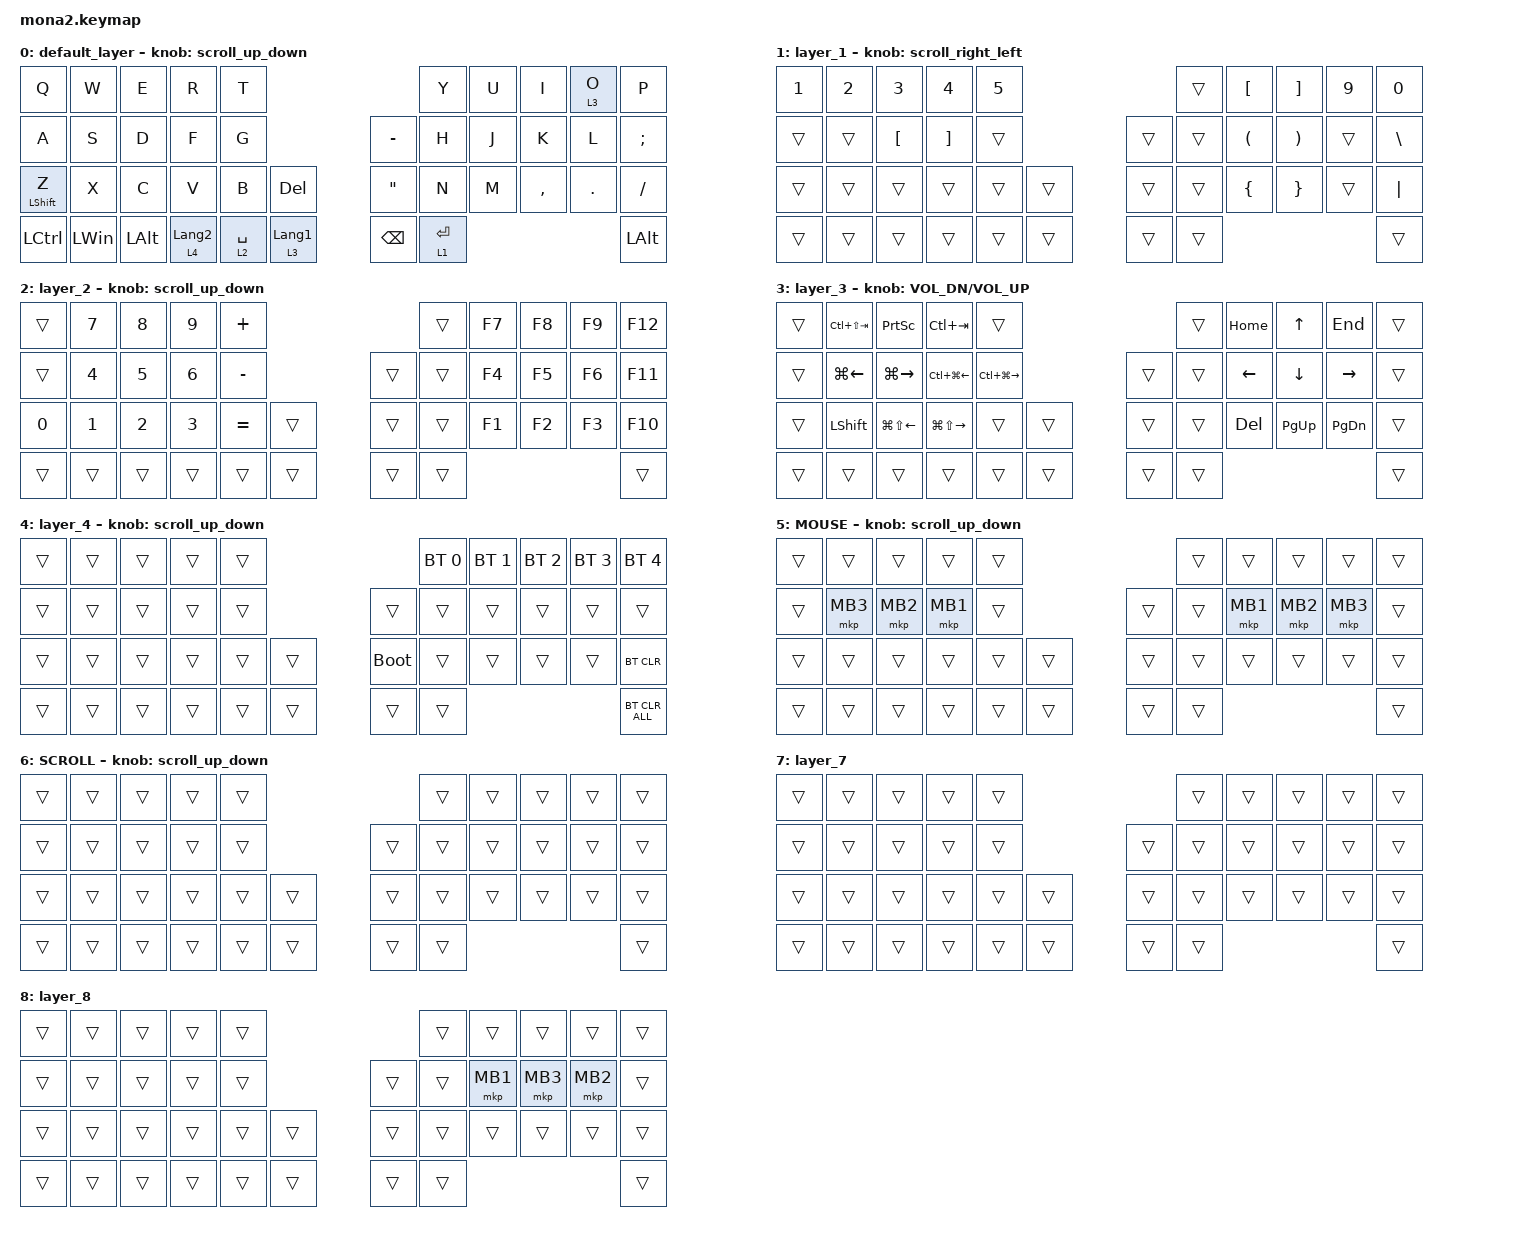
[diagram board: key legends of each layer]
#include <input/processors.dtsi>
#include <dt-bindings/zmk/input_transform.h>
#include <zephyr/dt-bindings/input/input-event-codes.h>
#include <behaviors.dtsi>
#include <dt-bindings/zmk/bt.h>
#include <dt-bindings/zmk/keys.h>
#include <dt-bindings/zmk/pointing.h>

#define ZMK_POINTING_DEFAULT_SCRL_VAL 100
#define MOUSE 5
#define SCROLL 6

&mt {
    flavor = "balanced";
    quick-tap-ms = <0>;
};

&lt {
    quick-tap-ms = <300>;
    flavor = "balanced";
};

/ {
    combos {
        compatible = "zmk,combos";

        layer4_ESC {
            bindings = <&lt 4 ESC>;
            key-positions = <39 38>;
        };

        tab {
            bindings = <&kp TAB>;
            key-positions = <11 12>;
        };

        esc {
            bindings = <&kp ESC>;
            key-positions = <0 1>;
        };

        a {
            bindings = <&kp A>;
            key-positions = <17 18 19>;
        };
    };

    macros {
        to_layer_0: to_layer_0 {
            compatible = "zmk,behavior-macro-one-param";
            #binding-cells = <1>;
            bindings = <&to 0 &macro_param_1to1 &kp MACRO_PLACEHOLDER>;
            label = "TO_LAYER_0";
        };
    };

    behaviors {
        lt_to_layer_0: lt_to_layer_0 {
            compatible = "zmk,behavior-hold-tap";
            label = "LAYER_TAP_TO_0";
            bindings = <&mo>, <&to_layer_0>;

            #binding-cells = <2>;
            tapping-term-ms = <200>;
        };

        scroll_up_down: mouse_wheel_up_down {
            compatible = "zmk,behavior-sensor-rotate";
            #sensor-binding-cells = <0>;
            bindings = <&msc SCRL_DOWN>, <&msc SCRL_UP>;

            tap-ms = <20>;
        };

        scroll_right_left: mouse_wheel_right_left {
            compatible = "zmk,behavior-sensor-rotate";
            #sensor-binding-cells = <0>;
            bindings = <&msc SCRL_LEFT>, <&msc SCRL_RIGHT>;

            tap-ms = <20>;
        };
    };

    keymap {
        compatible = "zmk,keymap";

        default_layer {
            bindings = <
&kp Q             &kp W         &kp E         &kp R             &kp T                                               &kp Y        &kp U  &kp I      &lt 3 O  &kp P
&kp A             &kp S         &kp D         &kp F             &kp G                            &kp MINUS          &kp H        &kp J  &kp K      &kp L    &kp SEMICOLON
&mt LEFT_SHIFT Z  &kp X         &kp C         &kp V             &kp B        &kp DELETE          &kp DOUBLE_QUOTES  &kp N        &kp M  &kp COMMA  &kp DOT  &kp SLASH
&kp LCTRL         &kp LEFT_WIN  &kp LEFT_ALT  &lt 4 LANGUAGE_2  &lt 2 SPACE  &lt 3 LANGUAGE_1    &kp BACKSPACE      &lt 1 ENTER                             &kp LEFT_ALT
            >;

            sensor-bindings = <&scroll_up_down>;
        };

        layer_1 {
            bindings = <
&kp NUMBER_1  &kp NUMBER_2  &kp NUMBER_3      &kp NUMBER_4       &kp NUMBER_5                    &trans  &kp LBKT  &kp RBKT  &kp NUMBER_9  &kp NUMBER_0
&trans        &trans        &kp LEFT_BRACKET  &kp RIGHT_BRACKET  &trans                  &trans  &trans  &kp LPAR  &kp RPAR  &trans        &kp BACKSLASH
&trans        &trans        &trans            &trans             &trans        &trans    &trans  &trans  &kp LBRC  &kp RBRC  &trans        &kp PIPE
&trans        &trans        &trans            &trans             &trans        &trans    &trans  &trans                                    &trans
            >;

            sensor-bindings = <&scroll_right_left>;
        };

        layer_2 {
            bindings = <
&trans  &kp N7  &kp N8  &kp N9  &kp PLUS                     &trans  &kp F7  &kp F8  &kp F9  &kp F12
&trans  &kp N4  &kp N5  &kp N6  &kp MINUS            &trans  &trans  &kp F4  &kp F5  &kp F6  &kp F11
&kp N0  &kp N1  &kp N2  &kp N3  &kp EQUAL  &trans    &trans  &trans  &kp F1  &kp F2  &kp F3  &kp F10
&trans  &trans  &trans  &trans  &trans     &trans    &trans  &trans                          &trans
            >;

            sensor-bindings = <&scroll_up_down>;
        };

        layer_3 {
            bindings = <
&trans  &kp LC(LS(TAB))     &kp PRINTSCREEN         &kp LC(TAB)              &trans                                     &trans  &kp HOME        &kp UP_ARROW    &kp END          &trans
&trans  &kp LG(LEFT_ARROW)  &kp LG(RIGHT_ARROW)     &kp LC(LG(LEFT_ARROW))   &kp LC(LG(RIGHT_ARROW))            &trans  &trans  &kp LEFT_ARROW  &kp DOWN_ARROW  &kp RIGHT_ARROW  &trans
&trans  &kp LEFT_SHIFT      &kp LG(LS(LEFT_ARROW))  &kp LG(LS(RIGHT_ARROW))  &trans                   &trans    &trans  &trans  &kp DELETE      &kp PAGE_UP     &kp PAGE_DOWN    &trans
&trans  &trans              &trans                  &trans                   &trans                   &trans    &trans  &trans                                                   &trans
            >;

            sensor-bindings = <&inc_dec_kp C_VOL_DN C_VOL_UP>;
        };

        layer_4 {
            bindings = <
&trans  &trans  &trans  &trans  &trans                         &bt BT_SEL 0  &bt BT_SEL 1  &bt BT_SEL 2  &bt BT_SEL 3  &bt BT_SEL 4
&trans  &trans  &trans  &trans  &trans            &trans       &trans        &trans        &trans        &trans        &trans
&trans  &trans  &trans  &trans  &trans  &trans    &bootloader  &trans        &trans        &trans        &trans        &bt BT_CLR
&trans  &trans  &trans  &trans  &trans  &trans    &trans       &trans                                                  &bt BT_CLR_ALL
            >;

            sensor-bindings = <&scroll_up_down>;
        };

        MOUSE {
            bindings = <
&trans  &trans    &trans    &trans    &trans                    &trans  &trans    &trans    &trans    &trans
&trans  &mkp MB3  &mkp MB2  &mkp MB1  &trans            &trans  &trans  &mkp MB1  &mkp MB2  &mkp MB3  &trans
&trans  &trans    &trans    &trans    &trans  &trans    &trans  &trans  &trans    &trans    &trans    &trans
&trans  &trans    &trans    &trans    &trans  &trans    &trans  &trans                                &trans
            >;

            sensor-bindings = <&scroll_up_down>;
        };

        SCROLL {
            bindings = <
&trans  &trans  &trans  &trans  &trans                    &trans  &trans  &trans  &trans  &trans
&trans  &trans  &trans  &trans  &trans            &trans  &trans  &trans  &trans  &trans  &trans
&trans  &trans  &trans  &trans  &trans  &trans    &trans  &trans  &trans  &trans  &trans  &trans
&trans  &trans  &trans  &trans  &trans  &trans    &trans  &trans                          &trans
            >;

            sensor-bindings = <&scroll_up_down>;
        };

        layer_7 {
            bindings = <
&trans  &trans  &trans  &trans  &trans                    &trans  &trans  &trans  &trans  &trans
&trans  &trans  &trans  &trans  &trans            &trans  &trans  &trans  &trans  &trans  &trans
&trans  &trans  &trans  &trans  &trans  &trans    &trans  &trans  &trans  &trans  &trans  &trans
&trans  &trans  &trans  &trans  &trans  &trans    &trans  &trans                          &trans
            >;
        };

        layer_8 {
            bindings = <
&trans  &trans  &trans  &trans  &trans                    &trans  &trans    &trans    &trans    &trans
&trans  &trans  &trans  &trans  &trans            &trans  &trans  &mkp MB1  &mkp MB3  &mkp MB2  &trans
&trans  &trans  &trans  &trans  &trans  &trans    &trans  &trans  &trans    &trans    &trans    &trans
&trans  &trans  &trans  &trans  &trans  &trans    &trans  &trans                                &trans
            >;
        };
    };
};
